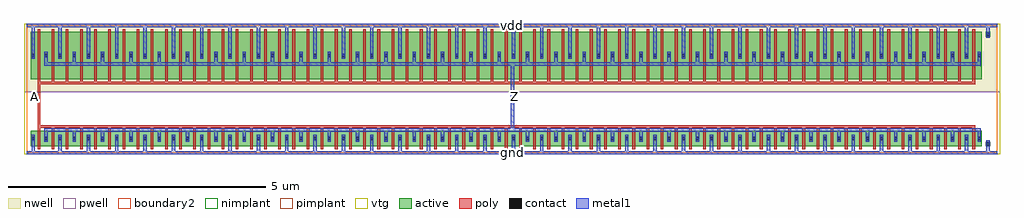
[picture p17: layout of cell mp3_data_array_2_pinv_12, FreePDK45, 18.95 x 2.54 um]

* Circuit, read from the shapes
.subckt mp3_data_array_2_pinv_12 A Z gnd vdd
M1 Z A gnd gnd nfet w=0.305u l=0.05u m=67
M2 Z A vdd vdd pfet w=0.915u l=0.05u m=67
.ends

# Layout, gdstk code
import gdstk
lib = gdstk.Library(unit=1e-6, precision=5e-10)
def R(c, l, rs):  # rectangles x0, y0, x1, y1
    for r in rs: c.add(gdstk.rectangle(r[:2], r[2:], *l))
def A(c, l, x, y, w, h, nx, ny, dx, dy):  # array of equal rectangles
    R(c, l, [(x+i*dx, y+j*dy, x+i*dx+w, y+j*dy+h) for i in range(nx) for j in range(ny)])
active = (1, 0)
pwell = (2, 0)
nwell = (3, 0)
nimplant = (4, 0)
pimplant = (5, 0)
vtg = (6, 0)
poly = (9, 0)
contact = (10, 0)
metal1 = (11, 0)
boundary2 = (239, 0)

mp3_data_array_2_contact = lib.new_cell('mp3_data_array_2_contact_11')
R(mp3_data_array_2_contact, active, [(0,0.0225,0.09,0.1125)])
R(mp3_data_array_2_contact, nwell, [(-0.055,-0.0325,0.145,0.1675)])
R(mp3_data_array_2_contact, pimplant, [(0,0.0225,0.09,0.1125)])
R(mp3_data_array_2_contact, contact, [(0.0125,0.035,0.0775,0.1)])
R(mp3_data_array_2_contact, metal1, [(0.0125,0,0.0775,0.135)])
R(mp3_data_array_2_contact, boundary2, [(-0.055,-0.0325,0.145,0.1675)])

mp3_data_array_2_pmos_m6 = lib.new_cell('mp3_data_array_2_pmos_m67_w0_915_sm1_dm1_da_p')
R(mp3_data_array_2_pmos_m6, active, [(0,0,18.455,0.915)])
R(mp3_data_array_2_pmos_m6, nwell, [(-0.08,-0.08,18.535,0.995)])
R(mp3_data_array_2_pmos_m6, pimplant, [(0,0,18.455,0.915)])
R(mp3_data_array_2_pmos_m6, vtg, [(-0.08,-0.08,18.535,0.995)])
A(mp3_data_array_2_pmos_m6, poly, 0.1275, -0.055, 0.05, 1.025, 67, 1, 0.275, 0)
R(mp3_data_array_2_pmos_m6, poly, [(0.1275,-0.105,18.3275,-0.055)])
A(mp3_data_array_2_pmos_m6, metal1, 0.2575, 0.2925, 0.065, 0.165, 33, 1, 0.55, 0)
A(mp3_data_array_2_pmos_m6, metal1, 0.5325, 0.39, 0.065, 0.135, 33, 1, 0.55, 0)
R(mp3_data_array_2_pmos_m6, metal1, [(0.2575,0.26,18.4425,0.325), (18.3775,0.2925,18.4425,0.4575), (0.0125,0.39,0.0775,0.525)])
R(mp3_data_array_2_pmos_m6, boundary2, [(-0.08,-0.105,18.535,0.995)])
mp3_data_array_2_pmos_m6.add(gdstk.Reference(mp3_data_array_2_contact, (0,0.39)))
mp3_data_array_2_pmos_m6.add(gdstk.Reference(mp3_data_array_2_contact, (0.245,0.39)))
mp3_data_array_2_pmos_m6.add(gdstk.Reference(mp3_data_array_2_contact, (0.52,0.39)))
mp3_data_array_2_pmos_m6.add(gdstk.Reference(mp3_data_array_2_contact, (0.795,0.39)))
mp3_data_array_2_pmos_m6.add(gdstk.Reference(mp3_data_array_2_contact, (1.07,0.39)))
mp3_data_array_2_pmos_m6.add(gdstk.Reference(mp3_data_array_2_contact, (1.345,0.39)))
mp3_data_array_2_pmos_m6.add(gdstk.Reference(mp3_data_array_2_contact, (1.62,0.39)))
mp3_data_array_2_pmos_m6.add(gdstk.Reference(mp3_data_array_2_contact, (1.895,0.39)))
mp3_data_array_2_pmos_m6.add(gdstk.Reference(mp3_data_array_2_contact, (2.17,0.39)))
mp3_data_array_2_pmos_m6.add(gdstk.Reference(mp3_data_array_2_contact, (2.445,0.39)))
mp3_data_array_2_pmos_m6.add(gdstk.Reference(mp3_data_array_2_contact, (2.72,0.39)))
mp3_data_array_2_pmos_m6.add(gdstk.Reference(mp3_data_array_2_contact, (2.995,0.39)))
mp3_data_array_2_pmos_m6.add(gdstk.Reference(mp3_data_array_2_contact, (3.27,0.39)))
mp3_data_array_2_pmos_m6.add(gdstk.Reference(mp3_data_array_2_contact, (3.545,0.39)))
mp3_data_array_2_pmos_m6.add(gdstk.Reference(mp3_data_array_2_contact, (3.82,0.39)))
mp3_data_array_2_pmos_m6.add(gdstk.Reference(mp3_data_array_2_contact, (4.095,0.39)))
mp3_data_array_2_pmos_m6.add(gdstk.Reference(mp3_data_array_2_contact, (4.37,0.39)))
mp3_data_array_2_pmos_m6.add(gdstk.Reference(mp3_data_array_2_contact, (4.645,0.39)))
mp3_data_array_2_pmos_m6.add(gdstk.Reference(mp3_data_array_2_contact, (4.92,0.39)))
mp3_data_array_2_pmos_m6.add(gdstk.Reference(mp3_data_array_2_contact, (5.195,0.39)))
mp3_data_array_2_pmos_m6.add(gdstk.Reference(mp3_data_array_2_contact, (5.47,0.39)))
mp3_data_array_2_pmos_m6.add(gdstk.Reference(mp3_data_array_2_contact, (5.745,0.39)))
mp3_data_array_2_pmos_m6.add(gdstk.Reference(mp3_data_array_2_contact, (6.02,0.39)))
mp3_data_array_2_pmos_m6.add(gdstk.Reference(mp3_data_array_2_contact, (6.295,0.39)))
mp3_data_array_2_pmos_m6.add(gdstk.Reference(mp3_data_array_2_contact, (6.57,0.39)))
mp3_data_array_2_pmos_m6.add(gdstk.Reference(mp3_data_array_2_contact, (6.845,0.39)))
mp3_data_array_2_pmos_m6.add(gdstk.Reference(mp3_data_array_2_contact, (7.12,0.39)))
mp3_data_array_2_pmos_m6.add(gdstk.Reference(mp3_data_array_2_contact, (7.395,0.39)))
mp3_data_array_2_pmos_m6.add(gdstk.Reference(mp3_data_array_2_contact, (7.67,0.39)))
mp3_data_array_2_pmos_m6.add(gdstk.Reference(mp3_data_array_2_contact, (7.945,0.39)))
mp3_data_array_2_pmos_m6.add(gdstk.Reference(mp3_data_array_2_contact, (8.22,0.39)))
mp3_data_array_2_pmos_m6.add(gdstk.Reference(mp3_data_array_2_contact, (8.495,0.39)))
mp3_data_array_2_pmos_m6.add(gdstk.Reference(mp3_data_array_2_contact, (8.77,0.39)))
mp3_data_array_2_pmos_m6.add(gdstk.Reference(mp3_data_array_2_contact, (9.045,0.39)))
mp3_data_array_2_pmos_m6.add(gdstk.Reference(mp3_data_array_2_contact, (9.32,0.39)))
mp3_data_array_2_pmos_m6.add(gdstk.Reference(mp3_data_array_2_contact, (9.595,0.39)))
mp3_data_array_2_pmos_m6.add(gdstk.Reference(mp3_data_array_2_contact, (9.87,0.39)))
mp3_data_array_2_pmos_m6.add(gdstk.Reference(mp3_data_array_2_contact, (10.145,0.39)))
mp3_data_array_2_pmos_m6.add(gdstk.Reference(mp3_data_array_2_contact, (10.42,0.39)))
mp3_data_array_2_pmos_m6.add(gdstk.Reference(mp3_data_array_2_contact, (10.695,0.39)))
mp3_data_array_2_pmos_m6.add(gdstk.Reference(mp3_data_array_2_contact, (10.97,0.39)))
mp3_data_array_2_pmos_m6.add(gdstk.Reference(mp3_data_array_2_contact, (11.245,0.39)))
mp3_data_array_2_pmos_m6.add(gdstk.Reference(mp3_data_array_2_contact, (11.52,0.39)))
mp3_data_array_2_pmos_m6.add(gdstk.Reference(mp3_data_array_2_contact, (11.795,0.39)))
mp3_data_array_2_pmos_m6.add(gdstk.Reference(mp3_data_array_2_contact, (12.07,0.39)))
mp3_data_array_2_pmos_m6.add(gdstk.Reference(mp3_data_array_2_contact, (12.345,0.39)))
mp3_data_array_2_pmos_m6.add(gdstk.Reference(mp3_data_array_2_contact, (12.62,0.39)))
mp3_data_array_2_pmos_m6.add(gdstk.Reference(mp3_data_array_2_contact, (12.895,0.39)))
mp3_data_array_2_pmos_m6.add(gdstk.Reference(mp3_data_array_2_contact, (13.17,0.39)))
mp3_data_array_2_pmos_m6.add(gdstk.Reference(mp3_data_array_2_contact, (13.445,0.39)))
mp3_data_array_2_pmos_m6.add(gdstk.Reference(mp3_data_array_2_contact, (13.72,0.39)))
mp3_data_array_2_pmos_m6.add(gdstk.Reference(mp3_data_array_2_contact, (13.995,0.39)))
mp3_data_array_2_pmos_m6.add(gdstk.Reference(mp3_data_array_2_contact, (14.27,0.39)))
mp3_data_array_2_pmos_m6.add(gdstk.Reference(mp3_data_array_2_contact, (14.545,0.39)))
mp3_data_array_2_pmos_m6.add(gdstk.Reference(mp3_data_array_2_contact, (14.82,0.39)))
mp3_data_array_2_pmos_m6.add(gdstk.Reference(mp3_data_array_2_contact, (15.095,0.39)))
mp3_data_array_2_pmos_m6.add(gdstk.Reference(mp3_data_array_2_contact, (15.37,0.39)))
mp3_data_array_2_pmos_m6.add(gdstk.Reference(mp3_data_array_2_contact, (15.645,0.39)))
mp3_data_array_2_pmos_m6.add(gdstk.Reference(mp3_data_array_2_contact, (15.92,0.39)))
mp3_data_array_2_pmos_m6.add(gdstk.Reference(mp3_data_array_2_contact, (16.195,0.39)))
mp3_data_array_2_pmos_m6.add(gdstk.Reference(mp3_data_array_2_contact, (16.47,0.39)))
mp3_data_array_2_pmos_m6.add(gdstk.Reference(mp3_data_array_2_contact, (16.745,0.39)))
mp3_data_array_2_pmos_m6.add(gdstk.Reference(mp3_data_array_2_contact, (17.02,0.39)))
mp3_data_array_2_pmos_m6.add(gdstk.Reference(mp3_data_array_2_contact, (17.295,0.39)))
mp3_data_array_2_pmos_m6.add(gdstk.Reference(mp3_data_array_2_contact, (17.57,0.39)))
mp3_data_array_2_pmos_m6.add(gdstk.Reference(mp3_data_array_2_contact, (17.845,0.39)))
mp3_data_array_2_pmos_m6.add(gdstk.Reference(mp3_data_array_2_contact, (18.12,0.39)))
mp3_data_array_2_pmos_m6.add(gdstk.Reference(mp3_data_array_2_contact, (18.365,0.39)))
mp3_data_array_2_pmos_m6.add(gdstk.Label('G', (9.2275,-0.08), layer=9, texttype=0))
mp3_data_array_2_pmos_m6.add(gdstk.Label('S', (13.765,0.4575), layer=11, texttype=0))
mp3_data_array_2_pmos_m6.add(gdstk.Label('S', (11.015,0.4575), layer=11, texttype=0))
mp3_data_array_2_pmos_m6.add(gdstk.Label('S', (14.315,0.4575), layer=11, texttype=0))
mp3_data_array_2_pmos_m6.add(gdstk.Label('S', (17.065,0.4575), layer=11, texttype=0))
mp3_data_array_2_pmos_m6.add(gdstk.Label('S', (15.965,0.4575), layer=11, texttype=0))
mp3_data_array_2_pmos_m6.add(gdstk.Label('S', (3.315,0.4575), layer=11, texttype=0))
mp3_data_array_2_pmos_m6.add(gdstk.Label('S', (3.865,0.4575), layer=11, texttype=0))
mp3_data_array_2_pmos_m6.add(gdstk.Label('S', (18.165,0.4575), layer=11, texttype=0))
mp3_data_array_2_pmos_m6.add(gdstk.Label('S', (4.415,0.4575), layer=11, texttype=0))
mp3_data_array_2_pmos_m6.add(gdstk.Label('S', (12.665,0.4575), layer=11, texttype=0))
mp3_data_array_2_pmos_m6.add(gdstk.Label('S', (0.565,0.4575), layer=11, texttype=0))
mp3_data_array_2_pmos_m6.add(gdstk.Label('S', (0.045,0.4575), layer=11, texttype=0))
mp3_data_array_2_pmos_m6.add(gdstk.Label('S', (2.215,0.4575), layer=11, texttype=0))
mp3_data_array_2_pmos_m6.add(gdstk.Label('S', (15.415,0.4575), layer=11, texttype=0))
mp3_data_array_2_pmos_m6.add(gdstk.Label('S', (9.365,0.4575), layer=11, texttype=0))
mp3_data_array_2_pmos_m6.add(gdstk.Label('S', (9.915,0.4575), layer=11, texttype=0))
mp3_data_array_2_pmos_m6.add(gdstk.Label('S', (1.665,0.4575), layer=11, texttype=0))
mp3_data_array_2_pmos_m6.add(gdstk.Label('S', (4.965,0.4575), layer=11, texttype=0))
mp3_data_array_2_pmos_m6.add(gdstk.Label('S', (6.065,0.4575), layer=11, texttype=0))
mp3_data_array_2_pmos_m6.add(gdstk.Label('S', (8.265,0.4575), layer=11, texttype=0))
mp3_data_array_2_pmos_m6.add(gdstk.Label('S', (5.515,0.4575), layer=11, texttype=0))
mp3_data_array_2_pmos_m6.add(gdstk.Label('S', (13.215,0.4575), layer=11, texttype=0))
mp3_data_array_2_pmos_m6.add(gdstk.Label('S', (17.615,0.4575), layer=11, texttype=0))
mp3_data_array_2_pmos_m6.add(gdstk.Label('S', (1.115,0.4575), layer=11, texttype=0))
mp3_data_array_2_pmos_m6.add(gdstk.Label('S', (11.565,0.4575), layer=11, texttype=0))
mp3_data_array_2_pmos_m6.add(gdstk.Label('S', (12.115,0.4575), layer=11, texttype=0))
mp3_data_array_2_pmos_m6.add(gdstk.Label('S', (16.515,0.4575), layer=11, texttype=0))
mp3_data_array_2_pmos_m6.add(gdstk.Label('S', (8.815,0.4575), layer=11, texttype=0))
mp3_data_array_2_pmos_m6.add(gdstk.Label('S', (2.765,0.4575), layer=11, texttype=0))
mp3_data_array_2_pmos_m6.add(gdstk.Label('S', (10.465,0.4575), layer=11, texttype=0))
mp3_data_array_2_pmos_m6.add(gdstk.Label('S', (14.865,0.4575), layer=11, texttype=0))
mp3_data_array_2_pmos_m6.add(gdstk.Label('S', (7.165,0.4575), layer=11, texttype=0))
mp3_data_array_2_pmos_m6.add(gdstk.Label('S', (6.615,0.4575), layer=11, texttype=0))
mp3_data_array_2_pmos_m6.add(gdstk.Label('S', (7.715,0.4575), layer=11, texttype=0))
mp3_data_array_2_pmos_m6.add(gdstk.Label('D', (9.35,0.2925), layer=11, texttype=0))

c_mp3_data_array_2_contact = lib.new_cell('mp3_data_array_2_contact_10')
R(c_mp3_data_array_2_contact, active, [(0,0.0225,0.09,0.1125)])
R(c_mp3_data_array_2_contact, pwell, [(-0.055,-0.0325,0.145,0.1675)])
R(c_mp3_data_array_2_contact, nimplant, [(0,0.0225,0.09,0.1125)])
R(c_mp3_data_array_2_contact, contact, [(0.0125,0.035,0.0775,0.1)])
R(c_mp3_data_array_2_contact, metal1, [(0.0125,0,0.0775,0.135)])
R(c_mp3_data_array_2_contact, boundary2, [(-0.055,-0.0325,0.145,0.1675)])

mp3_data_array_2_nmos_m6 = lib.new_cell('mp3_data_array_2_nmos_m67_w0_305_sm1_dm1_da_p')
R(mp3_data_array_2_nmos_m6, active, [(0,0,18.455,0.305)])
R(mp3_data_array_2_nmos_m6, pwell, [(-0.08,-0.08,18.535,0.385)])
R(mp3_data_array_2_nmos_m6, nimplant, [(0,0,18.455,0.305)])
R(mp3_data_array_2_nmos_m6, vtg, [(-0.08,-0.08,18.535,0.385)])
A(mp3_data_array_2_nmos_m6, poly, 0.1275, -0.055, 0.05, 0.415, 67, 1, 0.275, 0)
R(mp3_data_array_2_nmos_m6, poly, [(0.1275,0.36,18.3275,0.41)])
A(mp3_data_array_2_nmos_m6, metal1, 0.5325, 0.085, 0.065, 0.135, 33, 1, 0.55, 0)
A(mp3_data_array_2_nmos_m6, metal1, 0.2575, 0.1525, 0.065, 0.165, 33, 1, 0.55, 0)
R(mp3_data_array_2_nmos_m6, metal1, [(0.0125,0.085,0.0775,0.22), (18.3775,0.1525,18.4425,0.3175), (0.2575,0.285,18.4425,0.35)])
R(mp3_data_array_2_nmos_m6, boundary2, [(-0.08,-0.08,18.535,0.41)])
mp3_data_array_2_nmos_m6.add(gdstk.Reference(c_mp3_data_array_2_contact, (0,0.085)))
mp3_data_array_2_nmos_m6.add(gdstk.Reference(c_mp3_data_array_2_contact, (0.245,0.085)))
mp3_data_array_2_nmos_m6.add(gdstk.Reference(c_mp3_data_array_2_contact, (0.52,0.085)))
mp3_data_array_2_nmos_m6.add(gdstk.Reference(c_mp3_data_array_2_contact, (0.795,0.085)))
mp3_data_array_2_nmos_m6.add(gdstk.Reference(c_mp3_data_array_2_contact, (1.07,0.085)))
mp3_data_array_2_nmos_m6.add(gdstk.Reference(c_mp3_data_array_2_contact, (1.345,0.085)))
mp3_data_array_2_nmos_m6.add(gdstk.Reference(c_mp3_data_array_2_contact, (1.62,0.085)))
mp3_data_array_2_nmos_m6.add(gdstk.Reference(c_mp3_data_array_2_contact, (1.895,0.085)))
mp3_data_array_2_nmos_m6.add(gdstk.Reference(c_mp3_data_array_2_contact, (2.17,0.085)))
mp3_data_array_2_nmos_m6.add(gdstk.Reference(c_mp3_data_array_2_contact, (2.445,0.085)))
mp3_data_array_2_nmos_m6.add(gdstk.Reference(c_mp3_data_array_2_contact, (2.72,0.085)))
mp3_data_array_2_nmos_m6.add(gdstk.Reference(c_mp3_data_array_2_contact, (2.995,0.085)))
mp3_data_array_2_nmos_m6.add(gdstk.Reference(c_mp3_data_array_2_contact, (3.27,0.085)))
mp3_data_array_2_nmos_m6.add(gdstk.Reference(c_mp3_data_array_2_contact, (3.545,0.085)))
mp3_data_array_2_nmos_m6.add(gdstk.Reference(c_mp3_data_array_2_contact, (3.82,0.085)))
mp3_data_array_2_nmos_m6.add(gdstk.Reference(c_mp3_data_array_2_contact, (4.095,0.085)))
mp3_data_array_2_nmos_m6.add(gdstk.Reference(c_mp3_data_array_2_contact, (4.37,0.085)))
mp3_data_array_2_nmos_m6.add(gdstk.Reference(c_mp3_data_array_2_contact, (4.645,0.085)))
mp3_data_array_2_nmos_m6.add(gdstk.Reference(c_mp3_data_array_2_contact, (4.92,0.085)))
mp3_data_array_2_nmos_m6.add(gdstk.Reference(c_mp3_data_array_2_contact, (5.195,0.085)))
mp3_data_array_2_nmos_m6.add(gdstk.Reference(c_mp3_data_array_2_contact, (5.47,0.085)))
mp3_data_array_2_nmos_m6.add(gdstk.Reference(c_mp3_data_array_2_contact, (5.745,0.085)))
mp3_data_array_2_nmos_m6.add(gdstk.Reference(c_mp3_data_array_2_contact, (6.02,0.085)))
mp3_data_array_2_nmos_m6.add(gdstk.Reference(c_mp3_data_array_2_contact, (6.295,0.085)))
mp3_data_array_2_nmos_m6.add(gdstk.Reference(c_mp3_data_array_2_contact, (6.57,0.085)))
mp3_data_array_2_nmos_m6.add(gdstk.Reference(c_mp3_data_array_2_contact, (6.845,0.085)))
mp3_data_array_2_nmos_m6.add(gdstk.Reference(c_mp3_data_array_2_contact, (7.12,0.085)))
mp3_data_array_2_nmos_m6.add(gdstk.Reference(c_mp3_data_array_2_contact, (7.395,0.085)))
mp3_data_array_2_nmos_m6.add(gdstk.Reference(c_mp3_data_array_2_contact, (7.67,0.085)))
mp3_data_array_2_nmos_m6.add(gdstk.Reference(c_mp3_data_array_2_contact, (7.945,0.085)))
mp3_data_array_2_nmos_m6.add(gdstk.Reference(c_mp3_data_array_2_contact, (8.22,0.085)))
mp3_data_array_2_nmos_m6.add(gdstk.Reference(c_mp3_data_array_2_contact, (8.495,0.085)))
mp3_data_array_2_nmos_m6.add(gdstk.Reference(c_mp3_data_array_2_contact, (8.77,0.085)))
mp3_data_array_2_nmos_m6.add(gdstk.Reference(c_mp3_data_array_2_contact, (9.045,0.085)))
mp3_data_array_2_nmos_m6.add(gdstk.Reference(c_mp3_data_array_2_contact, (9.32,0.085)))
mp3_data_array_2_nmos_m6.add(gdstk.Reference(c_mp3_data_array_2_contact, (9.595,0.085)))
mp3_data_array_2_nmos_m6.add(gdstk.Reference(c_mp3_data_array_2_contact, (9.87,0.085)))
mp3_data_array_2_nmos_m6.add(gdstk.Reference(c_mp3_data_array_2_contact, (10.145,0.085)))
mp3_data_array_2_nmos_m6.add(gdstk.Reference(c_mp3_data_array_2_contact, (10.42,0.085)))
mp3_data_array_2_nmos_m6.add(gdstk.Reference(c_mp3_data_array_2_contact, (10.695,0.085)))
mp3_data_array_2_nmos_m6.add(gdstk.Reference(c_mp3_data_array_2_contact, (10.97,0.085)))
mp3_data_array_2_nmos_m6.add(gdstk.Reference(c_mp3_data_array_2_contact, (11.245,0.085)))
mp3_data_array_2_nmos_m6.add(gdstk.Reference(c_mp3_data_array_2_contact, (11.52,0.085)))
mp3_data_array_2_nmos_m6.add(gdstk.Reference(c_mp3_data_array_2_contact, (11.795,0.085)))
mp3_data_array_2_nmos_m6.add(gdstk.Reference(c_mp3_data_array_2_contact, (12.07,0.085)))
mp3_data_array_2_nmos_m6.add(gdstk.Reference(c_mp3_data_array_2_contact, (12.345,0.085)))
mp3_data_array_2_nmos_m6.add(gdstk.Reference(c_mp3_data_array_2_contact, (12.62,0.085)))
mp3_data_array_2_nmos_m6.add(gdstk.Reference(c_mp3_data_array_2_contact, (12.895,0.085)))
mp3_data_array_2_nmos_m6.add(gdstk.Reference(c_mp3_data_array_2_contact, (13.17,0.085)))
mp3_data_array_2_nmos_m6.add(gdstk.Reference(c_mp3_data_array_2_contact, (13.445,0.085)))
mp3_data_array_2_nmos_m6.add(gdstk.Reference(c_mp3_data_array_2_contact, (13.72,0.085)))
mp3_data_array_2_nmos_m6.add(gdstk.Reference(c_mp3_data_array_2_contact, (13.995,0.085)))
mp3_data_array_2_nmos_m6.add(gdstk.Reference(c_mp3_data_array_2_contact, (14.27,0.085)))
mp3_data_array_2_nmos_m6.add(gdstk.Reference(c_mp3_data_array_2_contact, (14.545,0.085)))
mp3_data_array_2_nmos_m6.add(gdstk.Reference(c_mp3_data_array_2_contact, (14.82,0.085)))
mp3_data_array_2_nmos_m6.add(gdstk.Reference(c_mp3_data_array_2_contact, (15.095,0.085)))
mp3_data_array_2_nmos_m6.add(gdstk.Reference(c_mp3_data_array_2_contact, (15.37,0.085)))
mp3_data_array_2_nmos_m6.add(gdstk.Reference(c_mp3_data_array_2_contact, (15.645,0.085)))
mp3_data_array_2_nmos_m6.add(gdstk.Reference(c_mp3_data_array_2_contact, (15.92,0.085)))
mp3_data_array_2_nmos_m6.add(gdstk.Reference(c_mp3_data_array_2_contact, (16.195,0.085)))
mp3_data_array_2_nmos_m6.add(gdstk.Reference(c_mp3_data_array_2_contact, (16.47,0.085)))
mp3_data_array_2_nmos_m6.add(gdstk.Reference(c_mp3_data_array_2_contact, (16.745,0.085)))
mp3_data_array_2_nmos_m6.add(gdstk.Reference(c_mp3_data_array_2_contact, (17.02,0.085)))
mp3_data_array_2_nmos_m6.add(gdstk.Reference(c_mp3_data_array_2_contact, (17.295,0.085)))
mp3_data_array_2_nmos_m6.add(gdstk.Reference(c_mp3_data_array_2_contact, (17.57,0.085)))
mp3_data_array_2_nmos_m6.add(gdstk.Reference(c_mp3_data_array_2_contact, (17.845,0.085)))
mp3_data_array_2_nmos_m6.add(gdstk.Reference(c_mp3_data_array_2_contact, (18.12,0.085)))
mp3_data_array_2_nmos_m6.add(gdstk.Reference(c_mp3_data_array_2_contact, (18.365,0.085)))
mp3_data_array_2_nmos_m6.add(gdstk.Label('G', (9.2275,0.385), layer=9, texttype=0))
mp3_data_array_2_nmos_m6.add(gdstk.Label('S', (13.215,0.1525), layer=11, texttype=0))
mp3_data_array_2_nmos_m6.add(gdstk.Label('S', (2.765,0.1525), layer=11, texttype=0))
mp3_data_array_2_nmos_m6.add(gdstk.Label('S', (1.665,0.1525), layer=11, texttype=0))
mp3_data_array_2_nmos_m6.add(gdstk.Label('S', (9.365,0.1525), layer=11, texttype=0))
mp3_data_array_2_nmos_m6.add(gdstk.Label('S', (7.165,0.1525), layer=11, texttype=0))
mp3_data_array_2_nmos_m6.add(gdstk.Label('S', (5.515,0.1525), layer=11, texttype=0))
mp3_data_array_2_nmos_m6.add(gdstk.Label('S', (15.415,0.1525), layer=11, texttype=0))
mp3_data_array_2_nmos_m6.add(gdstk.Label('S', (11.565,0.1525), layer=11, texttype=0))
mp3_data_array_2_nmos_m6.add(gdstk.Label('S', (7.715,0.1525), layer=11, texttype=0))
mp3_data_array_2_nmos_m6.add(gdstk.Label('S', (12.115,0.1525), layer=11, texttype=0))
mp3_data_array_2_nmos_m6.add(gdstk.Label('S', (16.515,0.1525), layer=11, texttype=0))
mp3_data_array_2_nmos_m6.add(gdstk.Label('S', (15.965,0.1525), layer=11, texttype=0))
mp3_data_array_2_nmos_m6.add(gdstk.Label('S', (17.615,0.1525), layer=11, texttype=0))
mp3_data_array_2_nmos_m6.add(gdstk.Label('S', (8.815,0.1525), layer=11, texttype=0))
mp3_data_array_2_nmos_m6.add(gdstk.Label('S', (0.045,0.1525), layer=11, texttype=0))
mp3_data_array_2_nmos_m6.add(gdstk.Label('S', (1.115,0.1525), layer=11, texttype=0))
mp3_data_array_2_nmos_m6.add(gdstk.Label('S', (6.615,0.1525), layer=11, texttype=0))
mp3_data_array_2_nmos_m6.add(gdstk.Label('S', (0.565,0.1525), layer=11, texttype=0))
mp3_data_array_2_nmos_m6.add(gdstk.Label('S', (8.265,0.1525), layer=11, texttype=0))
mp3_data_array_2_nmos_m6.add(gdstk.Label('S', (9.915,0.1525), layer=11, texttype=0))
mp3_data_array_2_nmos_m6.add(gdstk.Label('S', (2.215,0.1525), layer=11, texttype=0))
mp3_data_array_2_nmos_m6.add(gdstk.Label('S', (3.315,0.1525), layer=11, texttype=0))
mp3_data_array_2_nmos_m6.add(gdstk.Label('S', (6.065,0.1525), layer=11, texttype=0))
mp3_data_array_2_nmos_m6.add(gdstk.Label('S', (14.315,0.1525), layer=11, texttype=0))
mp3_data_array_2_nmos_m6.add(gdstk.Label('S', (17.065,0.1525), layer=11, texttype=0))
mp3_data_array_2_nmos_m6.add(gdstk.Label('S', (18.165,0.1525), layer=11, texttype=0))
mp3_data_array_2_nmos_m6.add(gdstk.Label('S', (13.765,0.1525), layer=11, texttype=0))
mp3_data_array_2_nmos_m6.add(gdstk.Label('S', (4.965,0.1525), layer=11, texttype=0))
mp3_data_array_2_nmos_m6.add(gdstk.Label('S', (14.865,0.1525), layer=11, texttype=0))
mp3_data_array_2_nmos_m6.add(gdstk.Label('S', (11.015,0.1525), layer=11, texttype=0))
mp3_data_array_2_nmos_m6.add(gdstk.Label('S', (4.415,0.1525), layer=11, texttype=0))
mp3_data_array_2_nmos_m6.add(gdstk.Label('S', (3.865,0.1525), layer=11, texttype=0))
mp3_data_array_2_nmos_m6.add(gdstk.Label('S', (12.665,0.1525), layer=11, texttype=0))
mp3_data_array_2_nmos_m6.add(gdstk.Label('S', (10.465,0.1525), layer=11, texttype=0))
mp3_data_array_2_nmos_m6.add(gdstk.Label('D', (9.35,0.3175), layer=11, texttype=0))

c_mp3_data_array_2_contact_ = lib.new_cell('mp3_data_array_2_contact_12')
R(c_mp3_data_array_2_contact_, active, [(0,0.0225,0.09,0.1125)])
R(c_mp3_data_array_2_contact_, nwell, [(-0.055,-0.0325,0.145,0.1675)])
R(c_mp3_data_array_2_contact_, nimplant, [(0,0.0225,0.09,0.1125)])
R(c_mp3_data_array_2_contact_, contact, [(0.0125,0.035,0.0775,0.1)])
R(c_mp3_data_array_2_contact_, metal1, [(0.0125,0,0.0775,0.135)])
R(c_mp3_data_array_2_contact_, boundary2, [(-0.055,-0.0325,0.145,0.1675)])

c_mp3_data_array_2_contact__ = lib.new_cell('mp3_data_array_2_contact_13')
R(c_mp3_data_array_2_contact__, active, [(0,0.0225,0.09,0.1125)])
R(c_mp3_data_array_2_contact__, pwell, [(-0.055,-0.0325,0.145,0.1675)])
R(c_mp3_data_array_2_contact__, pimplant, [(0,0.0225,0.09,0.1125)])
R(c_mp3_data_array_2_contact__, contact, [(0.0125,0.035,0.0775,0.1)])
R(c_mp3_data_array_2_contact__, metal1, [(0.0125,0,0.0775,0.135)])
R(c_mp3_data_array_2_contact__, boundary2, [(-0.055,-0.0325,0.145,0.1675)])

c_mp3_data_array_2_contact___ = lib.new_cell('mp3_data_array_2_contact_14')
R(c_mp3_data_array_2_contact___, poly, [(0.03,0,0.105,0.075)])
R(c_mp3_data_array_2_contact___, contact, [(0.035,0.005,0.1,0.07)])
R(c_mp3_data_array_2_contact___, metal1, [(0,0.005,0.135,0.07)])
R(c_mp3_data_array_2_contact___, boundary2, [(0,0,0.135,0.075)])

mp3_data_array_2_pinv_12 = lib.new_cell('mp3_data_array_2_pinv_12')
R(mp3_data_array_2_pinv_12, pwell, [(-0.055,-0.0325,18.8925,1.185)])
R(mp3_data_array_2_pinv_12, nwell, [(-0.055,1.185,18.8925,2.505)])
R(mp3_data_array_2_pinv_12, vtg, [(-0.055,-0.0325,18.8925,1.185), (-0.055,1.185,18.8925,2.505)])
R(mp3_data_array_2_pinv_12, poly, [(0.2075,0.535,0.2575,1.325), (0.14,1.045,0.2075,1.12)])
A(mp3_data_array_2_pinv_12, metal1, 0.6125, -0.0325, 0.065, 0.2425, 33, 1, 0.55, 0)
A(mp3_data_array_2_pinv_12, metal1, 0.6125, 1.82, 0.065, 0.6825, 33, 1, 0.55, 0)
R(mp3_data_array_2_pinv_12, metal1, [(0,-0.0325,18.8375,0.0325), (0.0925,-0.0325,0.1575,0.21), (18.6275,0,18.6925,0.17), (9.3975,0.41,9.4625,1.755), (0.0725,1.05,0.2075,1.115), (9.43,1.05,9.495,1.115), (0.0925,1.82,0.1575,2.5025), (18.6275,2.3,18.6925,2.47), (0,2.4375,18.8375,2.5025)])
R(mp3_data_array_2_pinv_12, boundary2, [(0,0,18.8375,2.47), (0,0,18.8375,2.47)])
mp3_data_array_2_pinv_12.add(gdstk.Reference(mp3_data_array_2_pmos_m6, (0.08,1.43)))
mp3_data_array_2_pinv_12.add(gdstk.Reference(mp3_data_array_2_nmos_m6, (0.08,0.125)))
mp3_data_array_2_pinv_12.add(gdstk.Reference(c_mp3_data_array_2_contact_, (18.615,2.2325)))
mp3_data_array_2_pinv_12.add(gdstk.Reference(c_mp3_data_array_2_contact__, (18.615,0.1025)))
mp3_data_array_2_pinv_12.add(gdstk.Reference(c_mp3_data_array_2_contact___, (0.0725,1.045)))
mp3_data_array_2_pinv_12.add(gdstk.Label('A', (0.14,1.0825), layer=11, texttype=0))
mp3_data_array_2_pinv_12.add(gdstk.Label('Z', (9.4625,1.0825), layer=11, texttype=0))
mp3_data_array_2_pinv_12.add(gdstk.Label('gnd', (9.419,0), layer=11, texttype=0))
mp3_data_array_2_pinv_12.add(gdstk.Label('vdd', (9.419,2.47), layer=11, texttype=0))

lib.write_gds('mp3_data_array_2_pinv_12.gds')
